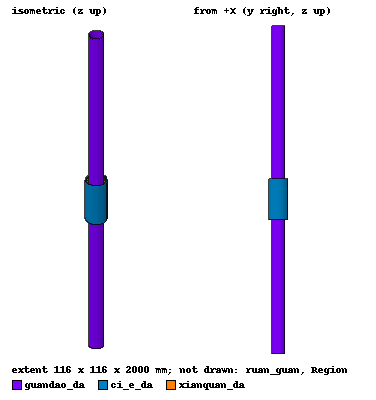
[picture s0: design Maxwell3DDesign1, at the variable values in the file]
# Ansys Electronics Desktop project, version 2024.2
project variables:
  $flux = 0tesla
  $my_freq = 0Hz
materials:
  vacuum: permittivity=1
  NdFe35: permittivity=1 permeability=1.0997785 conductivity=625000 magnetic_coercivity{Magnitude=-890000A_per_meter DirComp1=0 DirComp2=0 DirComp3=1} lande_g_factor=2
  copper: permeability=0.999991 conductivity=58000000
  steel_stainless: conductivity=1100000
  steel_1008: permeability{HUnit=A_per_meter BUnit=tesla curve (0, 0) (159.2, 0.2402) (318.3, 0.8654) (477.5, 1.1106) (636.6, 1.2458) (795.8, 1.331) (1591.5, 1.5) (3183.1, 1.6) (4774.6, 1.683) (6366.2, 1.741) (7957.7, 1.78) (15915.5, 1.905) (31831, 2.025) (47746.5, 2.085) (63662, 2.13) (79577.5, 2.165) (159155, 2.28) (318310, 2.485) (397887, 2.5851)} conductivity=2000000
  NdFe35 - you: permittivity=1 permeability=1.0997785 conductivity=625000 magnetic_coercivity{Magnitude=-890000A_per_meter DirComp1=0 DirComp2=0 DirComp3=-1} lande_g_factor=2

design Maxwell3DDesign1 (Maxwell 3D, Transient, model units mm)
options: ComputeTransientInductance
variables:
  my_freq = 0Hz
  coilnumbers = 1
  I_peak = 1A
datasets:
  zuo_1: units s, A: (0, 0) (0.0001, 1) (1, 1) (1.0001, 0) (2, 0) (2.0001, 1)
  you_1: units s, A: (0, 3.3) (1, 3.3) (1.0001, 0) (2, 0) (2.0001, 3.3) (3, 3.3) (3.0001, 0) (4, 0)
  DC_input: units s, A: (0, 3.3) (3, 3.3)
  you_11: units s, A: (0, 0) (0.0001, 1) (1, 1) (1.0001, 0) (2, 0) (2.0001, 1)
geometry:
  guandao_da [steel_1008] = cylinder(axis=Z, base_centre=(0mm, 0mm, -1000mm), radius=40mm, height=2000mm)
  guan_dao_xiao = cylinder(axis=Z, base_centre=(0mm, 0mm, -1000mm), radius=38mm, height=2000mm)
  guandao_da.subtract(guan_dao_xiao)
  ruan_guan [vacuum] = cylinder(axis=Z, base_centre=(0mm, 0mm, -105mm), radius=10mm, height=210mm)
  ruan_guan_xiao = cylinder(axis=Z, base_centre=(0mm, 0mm, -105mm), radius=8mm, height=210mm)
  ruan_guan.subtract(ruan_guan_xiao)
  yong_ci_ti = cylinder(axis=Z, base_centre=(0mm, 0mm, 0mm), radius=8mm, height=30mm)
  yong_ci_ti_1 = yong_ci_ti.duplicate_along_line(step=(0mm, 0mm, -30mm), total=3)  # copies kept: 1
  [yong_ci_ti_1, yong_ci_ti].move(0mm, 0mm, 30mm)
  [yong_ci_ti_1, yong_ci_ti].move(0mm, 0mm, -5mm)
  [yong_ci_ti, yong_ci_ti_1, ruan_guan].move(0mm, 30mm, -8.8817842e-16mm)
  [yong_ci_ti, yong_ci_ti_1, ruan_guan].move(0mm, -5mm, 0mm)
  xianquan_da [copper] = cylinder(axis=Z, base_centre=(0mm, 0mm, -50mm), radius=55mm, height=100mm)
  xianquan_xiao = cylinder(axis=Z, base_centre=(0mm, 0mm, -50mm), radius=52mm, height=100mm)
  xianquan_da.subtract(xianquan_xiao)
  xianquan_da_Section1 = xianquan_da.section(plane=YZ)
  xianquan_da_Section1_Separate1 = xianquan_da_Section1.separate_bodies()
  xianquan_da_Section1.delete()
  xianquan_da_Section1_Separate1_1 = xianquan_da_Section1_Separate1.duplicate_along_line(step=(0mm, 0mm, -120mm), total=2)
  xianquan_da_1 [copper] = xianquan_da.duplicate_along_line(step=(0mm, 0mm, -120mm), total=2)
  [yong_ci_ti, yong_ci_ti_1, ruan_guan].move(0mm, 0mm, -90mm)
  [yong_ci_ti_1, yong_ci_ti, ruan_guan].move(0mm, 0mm, 20mm)
  Region [vacuum] = region(percentage_offset=100 on all sides)
  [xianquan_da_Section1_Separate1_1, xianquan_da_1].move(0mm, 0mm, -10mm)
  [yong_ci_ti_1, yong_ci_ti].move(0mm, 0mm, -15mm)
  yong_ci_ti_1.move(0mm, 0mm, 5mm)
  yong_ci_ti.move(0mm, 0mm, 5mm)
  [yong_ci_ti_1, yong_ci_ti].move(0mm, 0mm, 5mm)
  [xianquan_da_Section1_Separate1_1, xianquan_da_1, yong_ci_ti_1, yong_ci_ti].move(0mm, 0mm, -20mm)
  [yong_ci_ti, yong_ci_ti_1].move(0mm, 0mm, 10mm)
  [xianquan_da_Section1_Separate1_1, xianquan_da_1].move(0mm, 0mm, 40mm)
  [yong_ci_ti_1, yong_ci_ti].move(0mm, 0mm, 30mm)
  [yong_ci_ti, yong_ci_ti_1].move(-2mm, 5mm, -10mm)
  [yong_ci_ti, yong_ci_ti_1].move(0mm, -10mm, 0mm)
  [yong_ci_ti, yong_ci_ti_1].move(0mm, 5mm, 0mm)
  [yong_ci_ti, yong_ci_ti_1].move(5mm, 0mm, 0mm)
  [yong_ci_ti, yong_ci_ti_1].move(-4mm, 0mm, 0mm)
  [yong_ci_ti, yong_ci_ti_1].move(1mm, 0mm, 0mm)
  [yong_ci_ti_1, yong_ci_ti].move(0mm, 0mm, 10mm)
  [yong_ci_ti_1, yong_ci_ti].move(0mm, 0mm, -20mm)
  [yong_ci_ti_1, yong_ci_ti].move(0mm, 0mm, 10mm)
  [xianquan_da_Section1_Separate1_1, xianquan_da_1, yong_ci_ti_1, yong_ci_ti].move(0mm, 0mm, -10mm)
  [yong_ci_ti_1, yong_ci_ti].move(0mm, 0mm, 5mm)
  yong_ci_ti.delete()
  yong_ci_ti_1_1 = yong_ci_ti_1.duplicate_along_line(step=(0mm, 0mm, 120mm), total=2)
  yong_ci_ti_1.delete()
  yong_ci_ti_1_1_1 = yong_ci_ti_1_1.duplicate_along_line(step=(0mm, 0mm, -120mm), total=2)
  yong_ci_ti_1_1.delete()
  [yong_ci_ti_1_1_1, xianquan_da_Section1_Separate1, xianquan_da].move(0mm, 0mm, 120mm)
  [xianquan_da_Section1_Separate1, xianquan_da].move(0mm, 0mm, -120mm)
  yong_ci_ti_1_1_1_1 = yong_ci_ti_1_1_1.duplicate_along_line(step=(0mm, 0mm, -120mm), total=2)
  yong_ci_ti_1_1_1.delete()
  yong_ci_ti_1_1_1_1.move(0mm, 0mm, -23.3mm)
  yong_ci_ti_1_1_1_1_2 [NdFe35 - you] = yong_ci_ti_1_1_1_1.duplicate_along_line(step=(0mm, 0mm, 23.3mm), total=2)
  [yong_ci_ti_1_1_1_1, yong_ci_ti_1_1_1_1_2].move(0mm, 0mm, 5mm)
  [yong_ci_ti_1_1_1_1_2, yong_ci_ti_1_1_1_1].move(0mm, 0mm, -3mm)
  [yong_ci_ti_1_1_1_1_2, yong_ci_ti_1_1_1_1].move(0mm, 0mm, 1mm)
  [yong_ci_ti_1_1_1_1_2, yong_ci_ti_1_1_1_1].move(0mm, 0mm, 0.4mm)
  yong_ci_ti_1_1_1_1.delete()
  yong_ci_ti_1_1_1_1_2.move(0mm, 0mm, -4mm)
  yong_ci_ti_1_1_1_1_2.move(0mm, 0mm, 2mm)
  yong_ci_ti_1_1_1_1_2.move(0mm, 0mm, -1mm)
  yong_ci_ti_1_1_1_1_2.move(0mm, 0mm, -1mm)
  ci_e_da [steel_1008] = cylinder(axis=Z, base_centre=(0mm, 0mm, 0mm), radius=58mm, height=250mm)
  ci_e_xiao = cylinder(axis=Z, base_centre=(0mm, 0mm, 0mm), radius=56mm, height=250mm)
  ci_e_da.subtract(ci_e_xiao)
  ci_e_da.move(0mm, 0mm, -180mm)
  ci_e_da.move(0mm, 0mm, -5mm)
  yong_ci_ti_1_1_1_1_2.move(0mm, 0mm, 2mm)
  yong_ci_ti_1_1_1_1_2.move(0mm, 0mm, -1mm)
  point Point1 = (40mm, 0mm, -60mm)
  Rectangle1 [non-model] = rectangle(corner=(80mm, -80mm, 0mm), x_size=-160mm, y_size=160mm)
  Rectangle1.move(0mm, 0mm, -60mm)
  Cylinder1 [vacuum, non-model] = cylinder(axis=Z, base_centre=(0mm, 0mm, 0mm), radius=52mm, height=20mm)
  Cylinder1.move(0mm, 0mm, -70mm)
  yong_ci_ti_1_1_1_1_2_1, yong_ci_ti_1_1_1_1_2_2 [NdFe35 - you] = yong_ci_ti_1_1_1_1_2.duplicate_around_axis(axis=Z, angle=120deg, total=3)
  Box1 = box(corner=(90mm, 70mm, 0mm), size=(-190mm, -150mm, -300mm))
  Box1_1 [vacuum, non-model] = Box1.duplicate_along_line(step=(0mm, 0mm, 300mm), total=2)
  Box1_1.unite(Box1)
  Box1_1.move(0mm, 0mm, -50mm)
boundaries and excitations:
  CoilTerminal1: Coil Terminal Objects=xianquan_da_Section1_Separate1 Conductor_number=60 Winding=Winding_you Point_out_of_terminal=false
  CoilTerminal2: Coil Terminal Objects=xianquan_da_Section1_Separate1_1 Conductor_number=60 Winding=Winding_zuo Point_out_of_terminal=true
  Winding_zuo: Winding Group Type=Current IsSolid=false Current=I_peak*pwl(zuo_1,Time) ParallelBranchesNum=1
  Winding_you: Winding Group Type=Current IsSolid=false Current=I_peak*pwl(you_11,Time) ParallelBranchesNum=1
  eddy effects on: guandao_da, yong_ci_ti_1_1_1_1_2
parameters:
  zheng_ti_li: Force Reference_CS=Global Is_Virtual=true Objects=[yong_ci_ti_1_1_1_1_2_1, yong_ci_ti_1_1_1_1_2_2, yong_ci_ti_1_1_1_1_2]
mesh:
  xianquan: LengthBased RefineInside Objects=[xianquan_da_1, xianquan_da] MaxLength=10mm
  ruan_guan: LengthBased RefineInside Objects=ruan_guan MaxLength=21mm
  guandao: LengthBased RefineInside Objects=guandao_da MaxLength=200mm
  ci_e: LengthBased RefineInside Objects=ci_e_da MaxLength=25mm
  ci_ti: LengthBased RefineInside Objects=yong_ci_ti_1_1_1_1_2 MaxLength=3mm
  ci_ti1: LengthBased RefineInside Objects=yong_ci_ti_1_1_1_1_2_1 MaxLength=3mm
  ci_ti2: LengthBased RefineInside Objects=yong_ci_ti_1_1_1_1_2_2 MaxLength=3mm
  initial mesh: GlobalCurvilinear{Apply}
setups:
  Setup1: Transient NonlinearSolverResidual=0.005 ScalarPotential="Second Order" StopTime=2.0001s TimeStep=50ms SaveFieldsType="Every N Steps" N_Steps=1 Steps_From=0s Steps_To=2.0001s NumberSolveSteps=1 RangeStart=0s RangeEnd=0.1s
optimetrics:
  ParametricSetup1: Parametric InterpolationPoints=0 Sim._Setups=[Setup1]
    sweep I_peak: LIN 3.3A 8.3A 1.25A
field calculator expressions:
  Grad_Bz = Fundamental_Quantity(62) | ScalarZ | d/dz
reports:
  Force Plot 1: zheng_ti_li.Force_z vs Time on Setup1 : Transient [I_peak=all]
